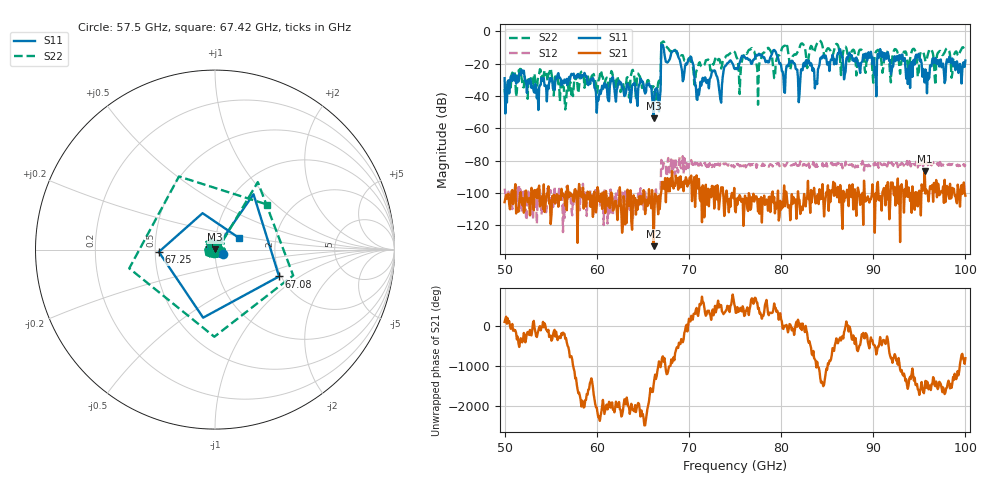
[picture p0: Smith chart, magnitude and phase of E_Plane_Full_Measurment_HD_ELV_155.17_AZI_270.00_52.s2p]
! 11/26/2026 3:43:07 PM
! C:\ANRITSUVNA\TEMP\TEMP.S2P
! CHANNEL.1
! TR.MEASUREMENT
! RAW.DATA
# HZ S RI R 50.0
! FREQ.HZ  S11RE  S11IM  S21RE  S21IM  S12RE  S12IM  S22RE  S22IM
!; PortSelection: Port_12
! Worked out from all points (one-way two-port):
!   601 points, 50 GHz to 100 GHz, reference 50 ohm
!   highest |S21| = -86.46 dB at 95.58 GHz (marker M1); lowest = -133.0 dB at 66.17 GHz (marker M2)
!   lowest |S11| = -53.8 dB at 66.17 GHz (marker M3), VSWR 1.00, Z = 50.1 + j0.149 ohm
!   |S11| at or under -10 dB: start of sweep to 67 GHz; 67.25 GHz to end of sweep
!   |S22| runs from -48.3 to -5.6 dB; largest |S21 - S12| = 0.00016
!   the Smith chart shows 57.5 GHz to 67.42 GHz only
!   S11 on the Smith chart (normalised r, x): 57.5 GHz: 1.09, -0.05; 67.08 GHz: 1.95, -0.69; 67.25 GHz: 0.52, -0.01; 67.42 GHz: 1.29, +0.17
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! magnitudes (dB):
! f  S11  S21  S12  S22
! 50 GHz  -28.9  -105.7  -97.3  -35.6
! 51.67 GHz  -26.3  -100.9  -97.5  -23.2
! 53.42 GHz  -34.7  -102.8  -106.5  -34.9
! 57.5 GHz  -26.1  -105.3  -102.2  -34.6
! 58.42 GHz  -27.2  -102.8  -102.5  -24.8
! 60.17 GHz  -42.8  -98.9  -104.6  -30.4
! 66.17 GHz  -53.8  -133.0  -108.7  -34.0
! 66.67 GHz  -41.5  -113.2  -105.1  -31.6
! 67.08 GHz  -8.2  -93.2  -83.2  -6.8
! 67.25 GHz  -10.1  -97.4  -81.3  -6.2
! 67.42 GHz  -16.6  -90.8  -83.2  -8.3
! 70.25 GHz  -15.9  -89.3  -79.7  -18.8
! 70.92 GHz  -42.4  -95.1  -81.5  -23.2
! 75 GHz  -23.3  -110.3  -82.1  -12.9
! 79.25 GHz  -11.5  -102.5  -82.7  -28.9
! 80.25 GHz  -27.8  -103.9  -82.4  -9.3
! 83.42 GHz  -24.4  -99.1  -82.6  -10.8
! 91.67 GHz  -16.6  -102.7  -80.8  -15.2
! 93.75 GHz  -32.5  -102.4  -82.7  -21.3
! 94.83 GHz  -15.1  -108.4  -84.2  -27.9
! 95.58 GHz  -31.6  -86.5  -78.5  -16.3
! 100 GHz  -18.0  -101.7  -82.3  -12.6
